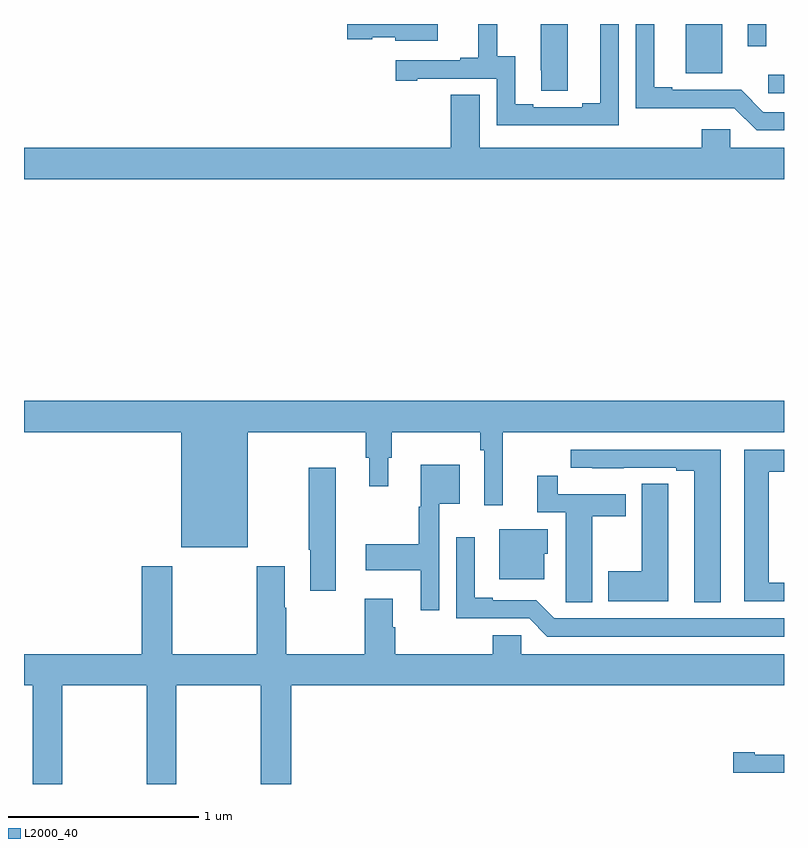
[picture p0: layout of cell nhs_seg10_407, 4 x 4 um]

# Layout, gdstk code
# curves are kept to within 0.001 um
import gdstk
lib = gdstk.Library(unit=1e-6, precision=1e-09)
def R(c, l, rs):  # rectangles x0, y0, x1, y1
    for r in rs: c.add(gdstk.rectangle(r[:2], r[2:], *l))
def P(c, l, *ps):  # polygons
    for p in ps: c.add(gdstk.Polygon(p, *l))
L2000_40 = (2000, 40)

nhs_seg10_407 = lib.new_cell('nhs_seg10_407')
R(nhs_seg10_407, L2000_40, [(134.916,1266.135,135,1266.232), (134.483,1266.242,134.674,1266.5), (134.81,1266.384,134.907,1266.5)])
P(nhs_seg10_407, L2000_40, [(133.861,1266.5),(133.721,1266.5),(133.721,1266.256),(133.722,1266.256),(133.722,1266.148),(133.861,1266.148)],
  [(134.13,1266.5),(134.033,1266.5),(134.033,1266.083),(133.937,1266.083),(133.937,1266.063),(133.681,1266.063),(133.681,1266.078),(133.585,1266.078),(133.585,1266.329),(133.491,1266.329),(133.491,1266.5),(133.391,1266.5),(133.391,1266.322),(133.295,1266.322),(133.295,1266.309),(132.957,1266.309),(132.957,1266.201),(133.069,1266.201),(133.069,1266.213),(133.488,1266.213),(133.488,1265.967),(134.13,1265.967)],
  [(133.177,1266.5),(132.702,1266.5),(132.702,1266.419),(132.834,1266.419),(132.834,1266.431),(132.954,1266.431),(132.954,1266.413),(133.177,1266.413)],
  [(135,1266.036),(134.892,1266.036),(134.775,1266.153),(134.413,1266.153),(134.413,1266.166),(134.317,1266.166),(134.317,1266.5),(134.22,1266.5),(134.22,1266.056),(134.739,1266.057),(134.856,1265.94),(135,1265.94)],
  [(135,1265.848),(134.718,1265.848),(134.718,1265.946),(134.567,1265.946),(134.567,1265.848),(133.399,1265.848),(133.399,1266.128),(133.247,1266.128),(133.247,1265.848),(131,1265.848),(131,1265.684),(135,1265.684)],
  [(132.178,1264.352),(132.799,1264.352),(132.799,1264.218),(132.818,1264.218),(132.818,1264.068),(132.916,1264.068),(132.916,1264.218),(132.935,1264.218),(132.935,1264.352),(133.402,1264.352),(133.402,1264.256),(133.422,1264.256),(133.422,1263.966),(133.52,1263.966),(133.52,1264.352),(135,1264.352),(135,1264.516),(131,1264.516),(131,1264.352),(131.828,1264.352),(131.828,1263.746),(132.178,1263.746)],
  [(134.668,1264.26),(133.878,1264.26),(133.878,1264.164),(133.99,1264.164),(133.99,1264.163),(134.156,1264.163),(134.156,1264.164),(134.432,1264.164),(134.432,1264.149),(134.528,1264.149),(134.528,1263.457),(134.668,1263.457)],
  [(135,1263.558),(134.92,1263.558),(134.92,1264.144),(135,1264.144),(135,1264.26),(134.792,1264.26),(134.792,1263.462),(135,1263.462)],
  [(133.185,1263.974),(133.294,1263.974),(133.294,1264.18),(133.088,1264.18),(133.088,1263.96),(133.077,1263.96),(133.077,1263.761),(132.798,1263.761),(132.798,1263.626),(133.088,1263.626),(133.088,1263.414),(133.185,1263.414)],
  [(132.64,1264.165),(132.499,1264.165),(132.499,1263.733),(132.506,1263.733),(132.506,1263.516),(132.64,1263.516)],
  [(133.99,1263.91),(134.167,1263.91),(134.167,1264.026),(133.808,1264.026),(133.808,1264.123),(133.7,1264.123),(133.7,1263.93),(133.85,1263.93),(133.85,1263.568),(133.851,1263.568),(133.851,1263.457),(133.99,1263.457)],
  [(134.392,1263.971),(134.391,1263.971),(134.391,1264.079),(134.252,1264.079),(134.252,1263.621),(134.075,1263.621),(134.075,1263.461),(134.392,1263.461)],
  [(133.738,1263.711),(133.756,1263.711),(133.756,1263.841),(133.502,1263.841),(133.502,1263.578),(133.738,1263.578)],
  [(135,1263.372),(133.791,1263.372),(133.695,1263.468),(133.468,1263.468),(133.468,1263.481),(133.372,1263.481),(133.372,1263.799),(133.275,1263.799),(133.275,1263.372),(133.659,1263.372),(133.755,1263.276),(135,1263.276)],
  [(131.202,1263.02),(131.647,1263.02),(131.647,1262.5),(131.802,1262.5),(131.802,1263.02),(132.247,1263.02),(132.247,1262.5),(132.407,1262.5),(132.407,1263.02),(135,1263.02),(135,1263.184),(133.617,1263.184),(133.617,1263.282),(133.466,1263.282),(133.466,1263.184),(132.953,1263.184),(132.953,1263.326),(132.94,1263.326),(132.94,1263.475),(132.793,1263.475),(132.793,1263.184),(132.381,1263.184),(132.381,1263.428),(132.373,1263.428),(132.373,1263.646),(132.226,1263.646),(132.226,1263.184),(131.781,1263.184),(131.781,1263.646),(131.621,1263.646),(131.621,1263.184),(131,1263.184),(131,1263.02),(131.047,1263.02),(131.047,1262.5),(131.202,1262.5)],
  [(135,1262.655),(134.845,1262.655),(134.845,1262.668),(134.733,1262.668),(134.733,1262.559),(135,1262.559)])

lib.write_gds('nhs_seg10_407.gds')
